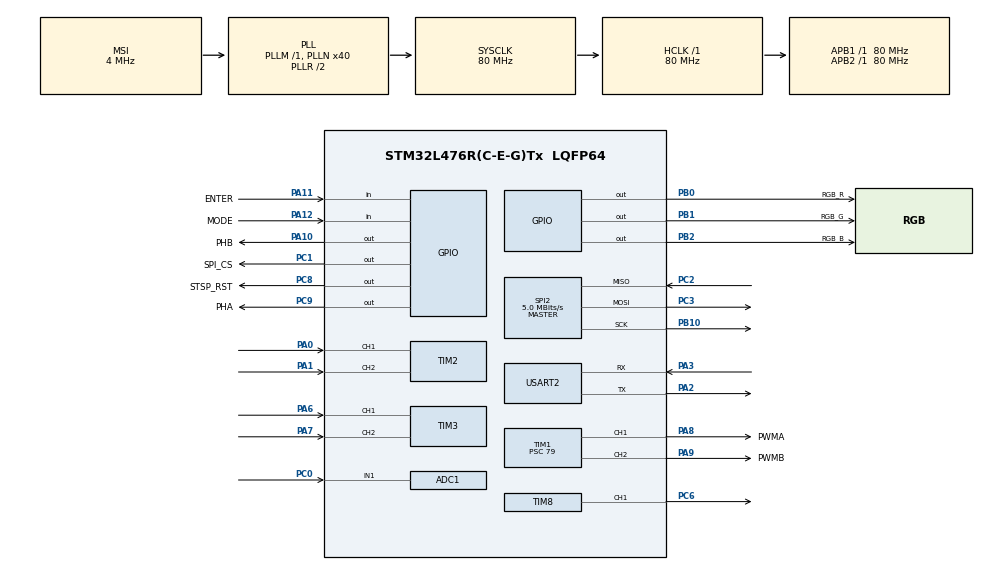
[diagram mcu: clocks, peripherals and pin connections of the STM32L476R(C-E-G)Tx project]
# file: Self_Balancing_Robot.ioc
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ADC1.Channel-0\#ChannelRegularConversion=ADC_CHANNEL_1
ADC1.ClockPrescaler=ADC_CLOCK_ASYNC_DIV2
ADC1.ContinuousConvMode=ENABLE
ADC1.DMAContinuousRequests=ENABLE
ADC1.NbrOfConversionFlag=1
ADC1.OffsetNumber-0\#ChannelRegularConversion=ADC_OFFSET_NONE
ADC1.Rank-0\#ChannelRegularConversion=1
ADC1.SamplingTime-0\#ChannelRegularConversion=ADC_SAMPLETIME_640CYCLES_5
ADC1.master=1
Dma.ADC1.2.Direction=DMA_PERIPH_TO_MEMORY
Dma.ADC1.2.Instance=DMA1_Channel1
Dma.ADC1.2.MemDataAlignment=DMA_MDATAALIGN_HALFWORD
Dma.ADC1.2.MemInc=DMA_MINC_ENABLE
Dma.ADC1.2.Mode=DMA_CIRCULAR
Dma.ADC1.2.PeriphDataAlignment=DMA_PDATAALIGN_HALFWORD
Dma.ADC1.2.PeriphInc=DMA_PINC_DISABLE
Dma.ADC1.2.Priority=DMA_PRIORITY_LOW
Dma.Request0=SPI2_RX
Dma.Request1=SPI2_TX
Dma.Request2=ADC1
Dma.Request3=USART2_RX
Dma.Request4=USART2_TX
Dma.SPI2_RX.0.Direction=DMA_PERIPH_TO_MEMORY
Dma.SPI2_RX.0.Instance=DMA1_Channel4
Dma.SPI2_RX.0.MemDataAlignment=DMA_MDATAALIGN_BYTE
Dma.SPI2_RX.0.MemInc=DMA_MINC_ENABLE
Dma.SPI2_RX.0.Mode=DMA_NORMAL
Dma.SPI2_RX.0.PeriphDataAlignment=DMA_PDATAALIGN_BYTE
Dma.SPI2_RX.0.PeriphInc=DMA_PINC_DISABLE
Dma.SPI2_RX.0.Priority=DMA_PRIORITY_LOW
Dma.SPI2_TX.1.Direction=DMA_MEMORY_TO_PERIPH
Dma.SPI2_TX.1.Instance=DMA1_Channel5
Dma.SPI2_TX.1.MemDataAlignment=DMA_MDATAALIGN_BYTE
Dma.SPI2_TX.1.MemInc=DMA_MINC_ENABLE
Dma.SPI2_TX.1.Mode=DMA_NORMAL
Dma.SPI2_TX.1.PeriphDataAlignment=DMA_PDATAALIGN_BYTE
Dma.SPI2_TX.1.PeriphInc=DMA_PINC_DISABLE
Dma.SPI2_TX.1.Priority=DMA_PRIORITY_LOW
Dma.USART2_RX.3.Direction=DMA_PERIPH_TO_MEMORY
Dma.USART2_RX.3.Instance=DMA1_Channel6
Dma.USART2_RX.3.MemDataAlignment=DMA_MDATAALIGN_BYTE
Dma.USART2_RX.3.MemInc=DMA_MINC_ENABLE
Dma.USART2_RX.3.Mode=DMA_NORMAL
Dma.USART2_RX.3.PeriphDataAlignment=DMA_PDATAALIGN_BYTE
Dma.USART2_RX.3.PeriphInc=DMA_PINC_DISABLE
Dma.USART2_RX.3.Priority=DMA_PRIORITY_LOW
Dma.USART2_TX.4.Direction=DMA_MEMORY_TO_PERIPH
Dma.USART2_TX.4.Instance=DMA1_Channel7
Dma.USART2_TX.4.MemDataAlignment=DMA_MDATAALIGN_BYTE
Dma.USART2_TX.4.MemInc=DMA_MINC_ENABLE
Dma.USART2_TX.4.Mode=DMA_NORMAL
Dma.USART2_TX.4.PeriphDataAlignment=DMA_PDATAALIGN_BYTE
Dma.USART2_TX.4.PeriphInc=DMA_PINC_DISABLE
Dma.USART2_TX.4.Priority=DMA_PRIORITY_LOW
Mcu.Family=STM32L4
Mcu.Name=STM32L476R(C-E-G)Tx
Mcu.Package=LQFP64
NVIC.DMA1_Channel1_IRQn=true\:1\:0\:true\:false\:true\:false\:true\:true
NVIC.DMA1_Channel4_IRQn=true\:0\:0\:false\:false\:true\:false\:true\:true
NVIC.DMA1_Channel5_IRQn=true\:0\:0\:false\:false\:true\:false\:true\:true
NVIC.DMA1_Channel6_IRQn=true\:0\:0\:false\:false\:true\:false\:true\:true
NVIC.DMA1_Channel7_IRQn=true\:0\:0\:false\:false\:true\:false\:true\:true
NVIC.PriorityGroup=NVIC_PRIORITYGROUP_4
NVIC.SPI2_IRQn=true\:0\:0\:false\:false\:true\:true\:true\:true
NVIC.TIM1_BRK_TIM15_IRQn=true\:0\:0\:false\:false\:true\:true\:true\:true
NVIC.TIM4_IRQn=true\:0\:0\:false\:false\:true\:true\:true\:true
NVIC.USART2_IRQn=true\:2\:0\:true\:false\:true\:true\:true\:true
PA0.Signal=S_TIM2_CH1
PA1.Signal=S_TIM2_CH2
PA10.GPIO_Label=PHB
PA10.Signal=GPIO_Output
PA11.GPIO_Label=ENTER
PA11.GPIO_PuPd=GPIO_PULLUP
PA11.Signal=GPIO_Input
PA12.GPIO_Label=MODE
PA12.GPIO_PuPd=GPIO_PULLUP
PA12.Signal=GPIO_Input
PA13\ (JTMS-SWDIO).Mode=Serial_Wire
PA13\ (JTMS-SWDIO).Signal=SYS_JTMS-SWDIO
PA14\ (JTCK-SWCLK).Mode=Serial_Wire
PA14\ (JTCK-SWCLK).Signal=SYS_JTCK-SWCLK
PA2.Mode=Asynchronous
PA2.Signal=USART2_TX
PA3.Mode=Asynchronous
PA3.Signal=USART2_RX
PA5.Signal=TIM8_CH1N
PA6.Signal=S_TIM3_CH1
PA7.Signal=S_TIM3_CH2
PA8.GPIO_Label=PWMA
PA8.Signal=S_TIM1_CH1
PA9.GPIO_Label=PWMB
PA9.Signal=S_TIM1_CH2
PB0.GPIO_Label=RGB_R
PB0.Signal=GPIO_Output
PB1.GPIO_Label=RGB_G
PB1.Signal=GPIO_Output
PB10.Mode=Full_Duplex_Master
PB10.Signal=SPI2_SCK
PB14.GPIO_Label=RC_CH2
PB14.Signal=S_TIM15_CH1
PB2.GPIO_Label=RGB_B
PB2.Signal=GPIO_Output
PC0.Signal=ADCx_IN1
PC1.GPIO_Label=SPI_CS
PC1.Signal=GPIO_Output
PC2.Mode=Full_Duplex_Master
PC2.Signal=SPI2_MISO
PC3.Mode=Full_Duplex_Master
PC3.Signal=SPI2_MOSI
PC6.Signal=S_TIM8_CH1
PC8.GPIO_Label=STSP_RST
PC8.Signal=GPIO_Output
PC9.GPIO_Label=PHA
PC9.Signal=GPIO_Output
ProjectManager.HeapSize=0x200
ProjectManager.StackSize=0x400
ProjectManager.TargetToolchain=MDK-ARM V5.32
RCC.ADCFreq_Value=32000000
RCC.AHBFreq_Value=80000000
RCC.APB1Freq_Value=80000000
RCC.APB1TimFreq_Value=80000000
RCC.APB2Freq_Value=80000000
RCC.APB2TimFreq_Value=80000000
RCC.CortexFreq_Value=80000000
RCC.HCLKFreq_Value=80000000
RCC.HSE_VALUE=8000000
RCC.HSI_VALUE=16000000
RCC.LSE_VALUE=32768
RCC.MSI_VALUE=4000000
RCC.PLLN=40
RCC.PLLSAI1N=16
RCC.SYSCLKFreq_VALUE=80000000
RCC.SYSCLKSource=RCC_SYSCLKSOURCE_PLLCLK
RCC.USBFreq_Value=32000000
RCC.VCOOutputFreq_Value=160000000
SH.ADCx_IN1.0=ADC1_IN1,IN1-Single-Ended
SH.S_TIM15_CH1.0=TIM15_CH1
SH.S_TIM1_CH1.0=TIM1_CH1,PWM Generation1 CH1
SH.S_TIM1_CH2.0=TIM1_CH2,PWM Generation2 CH2
SH.S_TIM2_CH1.0=TIM2_CH1,Encoder_Interface
SH.S_TIM2_CH2.0=TIM2_CH2,Encoder_Interface
SH.S_TIM3_CH1.0=TIM3_CH1,Encoder_Interface
SH.S_TIM3_CH2.0=TIM3_CH2,Encoder_Interface
SH.S_TIM8_CH1.0=TIM8_CH1,PWM Generation1 CH1
SPI2.BaudRatePrescaler=SPI_BAUDRATEPRESCALER_16
SPI2.CLKPhase=SPI_PHASE_2EDGE
SPI2.CLKPolarity=SPI_POLARITY_HIGH
SPI2.CalculateBaudRate=5.0 MBits/s
SPI2.DataSize=SPI_DATASIZE_8BIT
SPI2.Direction=SPI_DIRECTION_2LINES
SPI2.Mode=SPI_MODE_MASTER
SPI2.VirtualType=VM_MASTER
STMicroelectronics.X-CUBE-ALGOBUILD.1.4.0.LibraryCcDSPOoLibraryJjDSPOoLibrary=true
TIM1.Channel-PWM\ Generation1\ CH1=TIM_CHANNEL_1
TIM1.Channel-PWM\ Generation2\ CH2=TIM_CHANNEL_2
TIM1.Period=999
TIM1.Prescaler=79
TIM4.Period=1999
TIM4.Prescaler=79
TIM8.AutomaticOutput=TIM_AUTOMATICOUTPUT_ENABLE
TIM8.Channel-PWM\ Generation1\ CH1=TIM_CHANNEL_1
TIM8.Period=369
TIM8.Prescaler=79
TIM8.Pulse-PWM\ Generation1\ CH1=185
USART2.VirtualMode-Asynchronous=VM_ASYNC
VP_STMicroelectronics.X-CUBE-ALGOBUILD_VS_DSPOoLibraryJjLibrary_1.4.0_1.4.0.Mode=DSPOoLibraryJjLibrary
VP_TIM1_VS_ClockSourceINT.Mode=Internal
VP_TIM4_VS_ClockSourceINT.Mode=Internal
VP_TIM8_VS_ClockSourceINT.Mode=Internal
board=custom

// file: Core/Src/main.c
/* USER CODE BEGIN Header */
/**
  ******************************************************************************
  * @file           : main.c
  * @brief          : Main program body
  ******************************************************************************
  * @attention
  *
  * Copyright (c) 2025 STMicroelectronics.
  * All rights reserved.
  *
  * This software is licensed under terms that can be found in the LICENSE file
  * in the root directory of this software component.
  * If no LICENSE file comes with this software, it is provided AS-IS.
  *
  ******************************************************************************
  */
/* USER CODE END Header */
#include "main.h"

/* USER CODE BEGIN Includes */
#include "motor_control.h"
#include "stdio.h"
#include "motor_encoder.h"
#include "pid_control.h"
#include "icm_20948.h"
#include "arm_math.h"
#include "imu_data.h"
#include "euler_angles.h"
#include "lqr.h"
#include "buzzer.h"
#include "uart.h"
#include "telemetry.h"
#include "battery.h"
#include "rgb.h"
//#include "moving_average_filter.h"

/* USER CODE END Includes */

/* USER CODE BEGIN PM */
uint8_t status;

/* USER CODE END PM */

ADC_HandleTypeDef hadc1;
DMA_HandleTypeDef hdma_adc1;

SPI_HandleTypeDef hspi2;
DMA_HandleTypeDef hdma_spi2_rx;
DMA_HandleTypeDef hdma_spi2_tx;

TIM_HandleTypeDef htim1;
TIM_HandleTypeDef htim2;
TIM_HandleTypeDef htim3;
TIM_HandleTypeDef htim4;
TIM_HandleTypeDef htim8;

UART_HandleTypeDef huart2;
DMA_HandleTypeDef hdma_usart2_rx;
DMA_HandleTypeDef hdma_usart2_tx;

/* USER CODE BEGIN PV */
int dumb_data = 0;
volatile  uint16_t adc_battery;

float robot_battery;

const static motor_inst motor_a = {.htim_motor = &htim1,
																	 .htim_motor_ch = TIM_CHANNEL_1,
																	 .mdir_pin_number = PHA_Pin,
																	 .mdir_pin_port = PHA_GPIO_Port,
																	 .rst_pin_number = STSP_RST_Pin,
																	 .rst_pin_port = STSP_RST_GPIO_Port};
const static motor_inst motor_b = {.htim_motor = &htim1,
																	 .htim_motor_ch = TIM_CHANNEL_2,
																	 .mdir_pin_number = PHB_Pin,
																	 .mdir_pin_port = PHB_GPIO_Port,
																	 .rst_pin_number = STSP_RST_Pin,
																	 .rst_pin_port = STSP_RST_GPIO_Port};

static encoder_inst motora_enc = {.first_time = 0,
																	.htim_encoder = &htim3,
																	.last_counter_value = 0,
																	.position = 0,
																	.timer_period = 0.002,
																	.velocity = 0};

static encoder_inst motorb_enc = {.first_time = 0,
																	.htim_encoder = &htim2,
																	.last_counter_value = 0,
																	.position = 0,
																	.timer_period = 0.002,
																	.velocity = 0};
static pid_instance mota_pid = {.d_gain = 0,
                                .error_integral = 0,
																.i_gain = 1.0f,
																.integral_max = 5000,
																.last_error = 0,
																.output = 0,
																.p_gain = 10.0f,
																.pid_max = 100,
																.sam_rate = 100};

static pid_instance mot_rotation_pid = {.d_gain = 0.5,
                                .error_integral = 0,
																.i_gain = 0.0f,
																.integral_max = 5,
																.last_error = 0,
																.output = 0,
																.p_gain = 2.0f,
																.pid_max = 30,
																.sam_rate = 500};

uint32_t timer_counter;
uint8_t timer_flag,mag_timer_flag;
float temp_velocity, filter_out;
uint8_t timer_flag;
mov_aver_instance temp_filter;
int32_t duty_cycle_ch1, duty_cycle_ch2;

uint8_t address, data;

int16_t a_x, a_y, a_z, g_x, g_y, g_z;
icm_20948_data icm_data;

int32_t sum_gyro_x, sum_gyro_y, sum_gyro_z;
int16_t mag_x, mag_y, mag_z;

volatile uint8_t telem_div = 0;
volatile bool telemetry_pending = false;

// min / max magnetometer
float mag_x_min =  1e9f;
float mag_y_min =  1e9f;
float mag_z_min =  1e9f;

float mag_x_max = -1e9f;
float mag_y_max = -1e9f;
float mag_z_max = -1e9f;

// d? d?m th?i gian calibrate
uint32_t mag_sample_count = 0;

float mag_bias_x, mag_bias_y, mag_bias_z;
float mag_scale_x, mag_scale_y, mag_scale_z;

imu_norm imu_norm_data;
euler_angles euler_temp,euler_angles_robot, euler_angles_old;
StateTypeDef robot_state;
RGB        rgb;

int16_t counter_time;

float force;

//uint8_t rx1_buf[256];
//volatile uint16_t rx_len = 0;
//volatile uint8_t rx_ready = 0;

//static float32_t reference1, reference2;

/* USER CODE END PV */

void SystemClock_Config(void);
static void MX_GPIO_Init(void);
static void MX_DMA_Init(void);
static void MX_TIM1_Init(void);
static void MX_TIM2_Init(void);
static void MX_TIM3_Init(void);
static void MX_TIM4_Init(void);
static void MX_TIM8_Init(void);
static void MX_SPI2_Init(void);
static void MX_ADC1_Init(void);
static void MX_USART2_UART_Init(void);

int main(void)
{

  /* USER CODE BEGIN 1 */
//	uint8_t address, data;

  /* USER CODE END 1 */

  /* MCU Configuration--------------------------------------------------------*/

  /* Reset of all peripherals, Initializes the Flash interface and the Systick. */
  HAL_Init();

  /* USER CODE BEGIN Init */
	//icm_20948_data icm_data;

  /* USER CODE END Init */

  /* Configure the system clock */
  SystemClock_Config();

  /* Initialize all configured peripherals */
  MX_GPIO_Init();
  MX_DMA_Init();
  MX_TIM1_Init();
  MX_TIM2_Init();
  MX_TIM3_Init();
  MX_TIM4_Init();
  MX_TIM8_Init();
  MX_SPI2_Init();
  MX_ADC1_Init();
  MX_USART2_UART_Init();
  /* USER CODE BEGIN 2 */

	Buzzer_Init();
	UART_Init();
	Telemetry_Init();

	 rgb_init(&rgb, GPIOB, RGB_R_Pin, RGB_G_Pin, RGB_B_Pin);
  //UART_SendString("UART ready\r\n");

	HAL_Delay(100);

	// Start PWM in channels 2 and 3
	HAL_TIM_PWM_Start(&htim1, TIM_CHANNEL_1);
	HAL_TIM_PWM_Start(&htim1, TIM_CHANNEL_2);

	enable_motor((motor_inst*)&motor_a);
	enable_motor((motor_inst*)&motor_b);

	HAL_Delay(1000);
	reset_encoder(&motora_enc);
	reset_encoder(&motorb_enc);
	reset_pid(&mota_pid);
	icm_20948_init();
	icm_20948_read_data(&icm_data);
	sensor2imu(icm_data, &imu_norm_data);
	complementary_filter_euler(imu_norm_data,  &euler_angles_robot);
	euler_angles_old = euler_angles_robot;

  /* USER CODE END 2 */

  /* Infinite loop */
  while (1)
  {

    /* USER CODE BEGIN 3 */
		robot_battery = Battery_GetVbat();
		uint8_t b;
    while (UART_ReadByte(&b))
    {
        Telemetry_RxByte(b);
    }
		if (telemetry_pending)
    {
        telemetry_pending = false;
        Telemetry_SendEuler(&euler_angles_robot);
    }

		rgb_setcolor(&rgb, RGB_PURPLE);
		if(timer_flag == 1) // 2ms
		{

			timer_flag = 0;
			get_encoder_speed(&motora_enc);
			get_encoder_speed(&motorb_enc);

			//temp_velocity = motora_enc.velocity;
		//	apply_average_filter(&temp_filter, motora_enc.velocity, &filter_out);
			//apply_pid(&mota_pid, 5 - temp_velocity); // setpoint = 5
			//set_speed_open((motor_inst*)&motor_a, mota_pid.output);

		//	set_speed_open((motor_inst*)&motor_a, 0);

		//	set_speed_open((motor_inst*)&motor_a, (duty_cycle_ch1 / 100));
		//	set_speed_open((motor_inst*)&motor_b, (duty_cycle_ch2 / 100));
		//	dumb_data++;

				icm_20948_read_data(&icm_data);
				sensor2imu(icm_data, &imu_norm_data);
				complementary_filter_euler(imu_norm_data, &euler_angles_robot);
			   if (++telem_div >= 10)   // 50Hz,    // 5 * 2ms = 10ms = 100Hz
				{
						telem_div = 0;
						telemetry_pending = true;
				}
			 // apply_pid(&mot_rotation_pid, motora_enc.position - motorb_enc.position);
			 robot_state.angle = euler_angles_robot.pitch;
			 robot_state.angle_vel = robot_state.angle_vel * 0.8f + 0.2f * (euler_angles_robot.pitch - euler_angles_old.pitch) * SAMPLE_RATE;

			 robot_state.position = (motora_enc.position + motorb_enc.position) / 2 ;
			 robot_state.velocity = (motora_enc.velocity + motorb_enc.velocity) / 2 ;
//
//			 apply_force((motor_inst*)&motor_a, force / 2, motora_enc.velocity);
//			 apply_lqr(robot_state, &force);
//

//			if (euler_angles_robot.pitch < 1.0 && euler_angles_robot.pitch > -1.0)
//			{
//			  apply_force((motor_inst*)&motor_a, force / 2, motora_enc.velocity);
//			  apply_force((motor_inst*)&motor_b, force / 2, motorb_enc.velocity);
//			}
//			else
//			{
//			 set_speed_zero((motor_inst*)&motor_a);
//			 set_speed_zero((motor_inst*)&motor_b);
//			}

//			if (euler_angles_robot.pitch < 1.0 && euler_angles_robot.pitch > -1.0)
//			{
//			  apply_force((motor_inst*)&motor_a, force / 2 - mot_rotation_pid.output / 2, motora_enc.velocity);
//			  apply_force((motor_inst*)&motor_b, force / 2 + mot_rotation_pid.output / 2, motorb_enc.velocity);
//			}
//			else
//			{
//			 set_speed_zero((motor_inst*)&motor_a);
//			 set_speed_zero((motor_inst*)&motor_b);
//			}

			euler_angles_old = euler_angles_robot;

  }
  }
  /* USER CODE END 3 */
}

void SystemClock_Config(void)
{
  RCC_OscInitTypeDef RCC_OscInitStruct = {0};
  RCC_ClkInitTypeDef RCC_ClkInitStruct = {0};

  /** Configure the main internal regulator output voltage
  */
  if (HAL_PWREx_ControlVoltageScaling(PWR_REGULATOR_VOLTAGE_SCALE1) != HAL_OK)
  {
    Error_Handler();
  }

  /** Initializes the RCC Oscillators according to the specified parameters
  * in the RCC_OscInitTypeDef structure.
  */
  RCC_OscInitStruct.OscillatorType = RCC_OSCILLATORTYPE_MSI;
  RCC_OscInitStruct.MSIState = RCC_MSI_ON;
  RCC_OscInitStruct.MSICalibrationValue = 0;
  RCC_OscInitStruct.MSIClockRange = RCC_MSIRANGE_6;
  RCC_OscInitStruct.PLL.PLLState = RCC_PLL_ON;
  RCC_OscInitStruct.PLL.PLLSource = RCC_PLLSOURCE_MSI;
  RCC_OscInitStruct.PLL.PLLM = 1;
  RCC_OscInitStruct.PLL.PLLN = 40;
  RCC_OscInitStruct.PLL.PLLP = RCC_PLLP_DIV7;
  RCC_OscInitStruct.PLL.PLLQ = RCC_PLLQ_DIV2;
  RCC_OscInitStruct.PLL.PLLR = RCC_PLLR_DIV2;
  if (HAL_RCC_OscConfig(&RCC_OscInitStruct) != HAL_OK)
  {
    Error_Handler();
  }

  /** Initializes the CPU, AHB and APB buses clocks
  */
  RCC_ClkInitStruct.ClockType = RCC_CLOCKTYPE_HCLK|RCC_CLOCKTYPE_SYSCLK
                              |RCC_CLOCKTYPE_PCLK1|RCC_CLOCKTYPE_PCLK2;
  RCC_ClkInitStruct.SYSCLKSource = RCC_SYSCLKSOURCE_PLLCLK;
  RCC_ClkInitStruct.AHBCLKDivider = RCC_SYSCLK_DIV1;
  RCC_ClkInitStruct.APB1CLKDivider = RCC_HCLK_DIV1;
  RCC_ClkInitStruct.APB2CLKDivider = RCC_HCLK_DIV1;

  if (HAL_RCC_ClockConfig(&RCC_ClkInitStruct, FLASH_LATENCY_4) != HAL_OK)
  {
    Error_Handler();
  }
}

static void MX_ADC1_Init(void)
{

  ADC_MultiModeTypeDef multimode = {0};
  ADC_ChannelConfTypeDef sConfig = {0};

  /** Common config
  */
  hadc1.Instance = ADC1;
  hadc1.Init.ClockPrescaler = ADC_CLOCK_ASYNC_DIV2;
  hadc1.Init.Resolution = ADC_RESOLUTION_12B;
  hadc1.Init.DataAlign = ADC_DATAALIGN_RIGHT;
  hadc1.Init.ScanConvMode = ADC_SCAN_DISABLE;
  hadc1.Init.EOCSelection = ADC_EOC_SINGLE_CONV;
  hadc1.Init.LowPowerAutoWait = DISABLE;
  hadc1.Init.ContinuousConvMode = ENABLE;
  hadc1.Init.NbrOfConversion = 1;
  hadc1.Init.DiscontinuousConvMode = DISABLE;
  hadc1.Init.ExternalTrigConv = ADC_SOFTWARE_START;
  hadc1.Init.ExternalTrigConvEdge = ADC_EXTERNALTRIGCONVEDGE_NONE;
  hadc1.Init.DMAContinuousRequests = ENABLE;
  hadc1.Init.Overrun = ADC_OVR_DATA_PRESERVED;
  hadc1.Init.OversamplingMode = DISABLE;
  if (HAL_ADC_Init(&hadc1) != HAL_OK)
  {
    Error_Handler();
  }

  /** Configure the ADC multi-mode
  */
  multimode.Mode = ADC_MODE_INDEPENDENT;
  if (HAL_ADCEx_MultiModeConfigChannel(&hadc1, &multimode) != HAL_OK)
  {
    Error_Handler();
  }

  /** Configure Regular Channel
  */
  sConfig.Channel = ADC_CHANNEL_1;
  sConfig.Rank = ADC_REGULAR_RANK_1;
  sConfig.SamplingTime = ADC_SAMPLETIME_640CYCLES_5;
  sConfig.SingleDiff = ADC_SINGLE_ENDED;
  sConfig.OffsetNumber = ADC_OFFSET_NONE;
  sConfig.Offset = 0;
  if (HAL_ADC_ConfigChannel(&hadc1, &sConfig) != HAL_OK)
  {
    Error_Handler();
  }
  /* USER CODE BEGIN ADC1_Init 2 */
	HAL_ADC_Start_DMA(&hadc1, (uint32_t*)&adc_battery, 1);
  /* USER CODE END ADC1_Init 2 */

}

static void MX_SPI2_Init(void)
{

  /* SPI2 parameter configuration*/
  hspi2.Instance = SPI2;
  hspi2.Init.Mode = SPI_MODE_MASTER;
  hspi2.Init.Direction = SPI_DIRECTION_2LINES;
  hspi2.Init.DataSize = SPI_DATASIZE_8BIT;
  hspi2.Init.CLKPolarity = SPI_POLARITY_HIGH;
  hspi2.Init.CLKPhase = SPI_PHASE_2EDGE;
  hspi2.Init.NSS = SPI_NSS_SOFT;
  hspi2.Init.BaudRatePrescaler = SPI_BAUDRATEPRESCALER_16;
  hspi2.Init.FirstBit = SPI_FIRSTBIT_MSB;
  hspi2.Init.TIMode = SPI_TIMODE_DISABLE;
  hspi2.Init.CRCCalculation = SPI_CRCCALCULATION_DISABLE;
  hspi2.Init.CRCPolynomial = 7;
  hspi2.Init.CRCLength = SPI_CRC_LENGTH_DATASIZE;
  hspi2.Init.NSSPMode = SPI_NSS_PULSE_DISABLE;
  if (HAL_SPI_Init(&hspi2) != HAL_OK)
  {
    Error_Handler();
  }

}

static void MX_TIM1_Init(void)
{

  TIM_ClockConfigTypeDef sClockSourceConfig = {0};
  TIM_MasterConfigTypeDef sMasterConfig = {0};
  TIM_OC_InitTypeDef sConfigOC = {0};
  TIM_BreakDeadTimeConfigTypeDef sBreakDeadTimeConfig = {0};

  /* USER CODE BEGIN TIM1_Init 1 */

	/*
	80MHZ / (79 +1) = 1MHZ Timer
	1MHZ / (999 + 1) = 1 KHZ
	500 / (999 + 1) = 0.5

	PWM implementation, STM32
	Duty cycle (%) = 100 * (CCRx / Auto-reload + 1)
	Frequency = Timers frequency / (Auto reload + 1)
	*/

  /* USER CODE END TIM1_Init 1 */
  htim1.Instance = TIM1;
  htim1.Init.Prescaler = 79;
  htim1.Init.CounterMode = TIM_COUNTERMODE_UP;
  htim1.Init.Period = 999;
  htim1.Init.ClockDivision = TIM_CLOCKDIVISION_DIV1;
  htim1.Init.RepetitionCounter = 0;
  htim1.Init.AutoReloadPreload = TIM_AUTORELOAD_PRELOAD_DISABLE;
  if (HAL_TIM_Base_Init(&htim1) != HAL_OK)
  {
    Error_Handler();
  }
  sClockSourceConfig.ClockSource = TIM_CLOCKSOURCE_INTERNAL;
  if (HAL_TIM_ConfigClockSource(&htim1, &sClockSourceConfig) != HAL_OK)
  {
    Error_Handler();
  }
  if (HAL_TIM_PWM_Init(&htim1) != HAL_OK)
  {
    Error_Handler();
  }
  sMasterConfig.MasterOutputTrigger = TIM_TRGO_RESET;
  sMasterConfig.MasterOutputTrigger2 = TIM_TRGO2_RESET;
  sMasterConfig.MasterSlaveMode = TIM_MASTERSLAVEMODE_DISABLE;
  if (HAL_TIMEx_MasterConfigSynchronization(&htim1, &sMasterConfig) != HAL_OK)
  {
    Error_Handler();
  }
  sConfigOC.OCMode = TIM_OCMODE_PWM1;
  sConfigOC.Pulse = 0;
  sConfigOC.OCPolarity = TIM_OCPOLARITY_HIGH;
  sConfigOC.OCNPolarity = TIM_OCNPOLARITY_HIGH;
  sConfigOC.OCFastMode = TIM_OCFAST_DISABLE;
  sConfigOC.OCIdleState = TIM_OCIDLESTATE_RESET;
  sConfigOC.OCNIdleState = TIM_OCNIDLESTATE_RESET;
  if (HAL_TIM_PWM_ConfigChannel(&htim1, &sConfigOC, TIM_CHANNEL_1) != HAL_OK)
  {
    Error_Handler();
  }
  if (HAL_TIM_PWM_ConfigChannel(&htim1, &sConfigOC, TIM_CHANNEL_2) != HAL_OK)
  {
    Error_Handler();
  }
  sBreakDeadTimeConfig.OffStateRunMode = TIM_OSSR_DISABLE;
  sBreakDeadTimeConfig.OffStateIDLEMode = TIM_OSSI_DISABLE;
  sBreakDeadTimeConfig.LockLevel = TIM_LOCKLEVEL_OFF;
  sBreakDeadTimeConfig.DeadTime = 0;
  sBreakDeadTimeConfig.BreakState = TIM_BREAK_DISABLE;
  sBreakDeadTimeConfig.BreakPolarity = TIM_BREAKPOLARITY_HIGH;
  sBreakDeadTimeConfig.BreakFilter = 0;
  sBreakDeadTimeConfig.Break2State = TIM_BREAK2_DISABLE;
  sBreakDeadTimeConfig.Break2Polarity = TIM_BREAK2POLARITY_HIGH;
  sBreakDeadTimeConfig.Break2Filter = 0;
  sBreakDeadTimeConfig.AutomaticOutput = TIM_AUTOMATICOUTPUT_DISABLE;
  if (HAL_TIMEx_ConfigBreakDeadTime(&htim1, &sBreakDeadTimeConfig) != HAL_OK)
  {
    Error_Handler();
  }
  HAL_TIM_MspPostInit(&htim1);

}

static void MX_TIM2_Init(void)
{

  TIM_Encoder_InitTypeDef sConfig = {0};
  TIM_MasterConfigTypeDef sMasterConfig = {0};

  htim2.Instance = TIM2;
  htim2.Init.Prescaler = 0;
  htim2.Init.CounterMode = TIM_COUNTERMODE_UP;
  htim2.Init.Period = 4294967295;
  htim2.Init.ClockDivision = TIM_CLOCKDIVISION_DIV1;
  htim2.Init.AutoReloadPreload = TIM_AUTORELOAD_PRELOAD_DISABLE;
  sConfig.EncoderMode = TIM_ENCODERMODE_TI1;
  sConfig.IC1Polarity = TIM_ICPOLARITY_RISING;
  sConfig.IC1Selection = TIM_ICSELECTION_DIRECTTI;
  sConfig.IC1Prescaler = TIM_ICPSC_DIV1;
  sConfig.IC1Filter = 0;
  sConfig.IC2Polarity = TIM_ICPOLARITY_RISING;
  sConfig.IC2Selection = TIM_ICSELECTION_DIRECTTI;
  sConfig.IC2Prescaler = TIM_ICPSC_DIV1;
  sConfig.IC2Filter = 0;
  if (HAL_TIM_Encoder_Init(&htim2, &sConfig) != HAL_OK)
  {
    Error_Handler();
  }
  sMasterConfig.MasterOutputTrigger = TIM_TRGO_RESET;
  sMasterConfig.MasterSlaveMode = TIM_MASTERSLAVEMODE_DISABLE;
  if (HAL_TIMEx_MasterConfigSynchronization(&htim2, &sMasterConfig) != HAL_OK)
  {
    Error_Handler();
  }
  /* USER CODE BEGIN TIM2_Init 2 */
	HAL_TIM_Encoder_Start(&htim2, TIM_CHANNEL_ALL);

  /* USER CODE END TIM2_Init 2 */

}

static void MX_TIM3_Init(void)
{

  TIM_Encoder_InitTypeDef sConfig = {0};
  TIM_MasterConfigTypeDef sMasterConfig = {0};

  htim3.Instance = TIM3;
  htim3.Init.Prescaler = 0;
  htim3.Init.CounterMode = TIM_COUNTERMODE_UP;
  htim3.Init.Period = 65535;
  htim3.Init.ClockDivision = TIM_CLOCKDIVISION_DIV1;
  htim3.Init.AutoReloadPreload = TIM_AUTORELOAD_PRELOAD_DISABLE;
  sConfig.EncoderMode = TIM_ENCODERMODE_TI1;
  sConfig.IC1Polarity = TIM_ICPOLARITY_RISING;
  sConfig.IC1Selection = TIM_ICSELECTION_DIRECTTI;
  sConfig.IC1Prescaler = TIM_ICPSC_DIV1;
  sConfig.IC1Filter = 0;
  sConfig.IC2Polarity = TIM_ICPOLARITY_RISING;
  sConfig.IC2Selection = TIM_ICSELECTION_DIRECTTI;
  sConfig.IC2Prescaler = TIM_ICPSC_DIV1;
  sConfig.IC2Filter = 0;
  if (HAL_TIM_Encoder_Init(&htim3, &sConfig) != HAL_OK)
  {
    Error_Handler();
  }
  sMasterConfig.MasterOutputTrigger = TIM_TRGO_RESET;
  sMasterConfig.MasterSlaveMode = TIM_MASTERSLAVEMODE_DISABLE;
  if (HAL_TIMEx_MasterConfigSynchronization(&htim3, &sMasterConfig) != HAL_OK)
  {
    Error_Handler();
  }
  /* USER CODE BEGIN TIM3_Init 2 */
	HAL_TIM_Encoder_Start(&htim3, TIM_CHANNEL_ALL);

  /* USER CODE END TIM3_Init 2 */

}

static void MX_TIM4_Init(void)
{

  /* USER CODE BEGIN TIM4_Init 0 */
/*	Interrupt 2ms
	Timer clock: 80MHz
	Prescaler = 79 -> Tan so sau prescaler: f_tick = 80 000 000 / 79 + 1 = 1 000 000 Hz
	1 tick = 1 us
	Period(ARR) = 1999 => so tick moi chu ky = 1999 + 1 = 2000 tick
	T = 2000 x 1us =  2000us = 2 ms
*/

  /* USER CODE END TIM4_Init 0 */

  TIM_ClockConfigTypeDef sClockSourceConfig = {0};
  TIM_MasterConfigTypeDef sMasterConfig = {0};

  htim4.Instance = TIM4;
  htim4.Init.Prescaler = 79;
  htim4.Init.CounterMode = TIM_COUNTERMODE_UP;
  htim4.Init.Period = 1999;
  htim4.Init.ClockDivision = TIM_CLOCKDIVISION_DIV1;
  htim4.Init.AutoReloadPreload = TIM_AUTORELOAD_PRELOAD_DISABLE;
  if (HAL_TIM_Base_Init(&htim4) != HAL_OK)
  {
    Error_Handler();
  }
  sClockSourceConfig.ClockSource = TIM_CLOCKSOURCE_INTERNAL;
  if (HAL_TIM_ConfigClockSource(&htim4, &sClockSourceConfig) != HAL_OK)
  {
    Error_Handler();
  }
  sMasterConfig.MasterOutputTrigger = TIM_TRGO_RESET;
  sMasterConfig.MasterSlaveMode = TIM_MASTERSLAVEMODE_DISABLE;
  if (HAL_TIMEx_MasterConfigSynchronization(&htim4, &sMasterConfig) != HAL_OK)
  {
    Error_Handler();
  }
  /* USER CODE BEGIN TIM4_Init 2 */
//	  htim4.Instance->PSC = SystemCoreClock / (1e6) - 1;
//  htim4.Instance->ARR = 1e6 / (SAMPLE_RATE) - 1;
	HAL_TIM_Base_Start_IT(&htim4);
  /* USER CODE END TIM4_Init 2 */

}

static void MX_TIM8_Init(void)
{

  TIM_ClockConfigTypeDef sClockSourceConfig = {0};
  TIM_MasterConfigTypeDef sMasterConfig = {0};
  TIM_OC_InitTypeDef sConfigOC = {0};
  TIM_BreakDeadTimeConfigTypeDef sBreakDeadTimeConfig = {0};

  htim8.Instance = TIM8;
  htim8.Init.Prescaler = 79;
  htim8.Init.CounterMode = TIM_COUNTERMODE_UP;
  htim8.Init.Period = 369;
  htim8.Init.ClockDivision = TIM_CLOCKDIVISION_DIV1;
  htim8.Init.RepetitionCounter = 0;
  htim8.Init.AutoReloadPreload = TIM_AUTORELOAD_PRELOAD_DISABLE;
  if (HAL_TIM_Base_Init(&htim8) != HAL_OK)
  {
    Error_Handler();
  }
  sClockSourceConfig.ClockSource = TIM_CLOCKSOURCE_INTERNAL;
  if (HAL_TIM_ConfigClockSource(&htim8, &sClockSourceConfig) != HAL_OK)
  {
    Error_Handler();
  }
  if (HAL_TIM_PWM_Init(&htim8) != HAL_OK)
  {
    Error_Handler();
  }
  sMasterConfig.MasterOutputTrigger = TIM_TRGO_RESET;
  sMasterConfig.MasterOutputTrigger2 = TIM_TRGO2_RESET;
  sMasterConfig.MasterSlaveMode = TIM_MASTERSLAVEMODE_DISABLE;
  if (HAL_TIMEx_MasterConfigSynchronization(&htim8, &sMasterConfig) != HAL_OK)
  {
    Error_Handler();
  }
  sConfigOC.OCMode = TIM_OCMODE_PWM1;
  sConfigOC.Pulse = 185;
  sConfigOC.OCPolarity = TIM_OCPOLARITY_HIGH;
  sConfigOC.OCNPolarity = TIM_OCNPOLARITY_HIGH;
  sConfigOC.OCFastMode = TIM_OCFAST_DISABLE;
  sConfigOC.OCIdleState = TIM_OCIDLESTATE_RESET;
  sConfigOC.OCNIdleState = TIM_OCNIDLESTATE_RESET;
  if (HAL_TIM_PWM_ConfigChannel(&htim8, &sConfigOC, TIM_CHANNEL_1) != HAL_OK)
  {
    Error_Handler();
  }
  sBreakDeadTimeConfig.OffStateRunMode = TIM_OSSR_DISABLE;
  sBreakDeadTimeConfig.OffStateIDLEMode = TIM_OSSI_DISABLE;
  sBreakDeadTimeConfig.LockLevel = TIM_LOCKLEVEL_OFF;
  sBreakDeadTimeConfig.DeadTime = 0;
  sBreakDeadTimeConfig.BreakState = TIM_BREAK_DISABLE;
  sBreakDeadTimeConfig.BreakPolarity = TIM_BREAKPOLARITY_HIGH;
  sBreakDeadTimeConfig.BreakFilter = 0;
  sBreakDeadTimeConfig.Break2State = TIM_BREAK2_DISABLE;
  sBreakDeadTimeConfig.Break2Polarity = TIM_BREAK2POLARITY_HIGH;
  sBreakDeadTimeConfig.Break2Filter = 0;
  sBreakDeadTimeConfig.AutomaticOutput = TIM_AUTOMATICOUTPUT_ENABLE;
  if (HAL_TIMEx_ConfigBreakDeadTime(&htim8, &sBreakDeadTimeConfig) != HAL_OK)
  {
    Error_Handler();
  }
  HAL_TIM_MspPostInit(&htim8);

}

static void MX_USART2_UART_Init(void)
{

  huart2.Instance = USART2;
  huart2.Init.BaudRate = 115200;
  huart2.Init.WordLength = UART_WORDLENGTH_8B;
  huart2.Init.StopBits = UART_STOPBITS_1;
  huart2.Init.Parity = UART_PARITY_NONE;
  huart2.Init.Mode = UART_MODE_TX_RX;
  huart2.Init.HwFlowCtl = UART_HWCONTROL_NONE;
  huart2.Init.OverSampling = UART_OVERSAMPLING_16;
  huart2.Init.OneBitSampling = UART_ONE_BIT_SAMPLE_DISABLE;
  huart2.AdvancedInit.AdvFeatureInit = UART_ADVFEATURE_NO_INIT;
  if (HAL_UART_Init(&huart2) != HAL_OK)
  {
    Error_Handler();
  }

}

static void MX_DMA_Init(void)
{

  /* DMA controller clock enable */
  __HAL_RCC_DMA1_CLK_ENABLE();

  /* DMA interrupt init */
  /* DMA1_Channel1_IRQn interrupt configuration */
  HAL_NVIC_SetPriority(DMA1_Channel1_IRQn, 1, 0);
  HAL_NVIC_EnableIRQ(DMA1_Channel1_IRQn);
  /* DMA1_Channel4_IRQn interrupt configuration */
  HAL_NVIC_SetPriority(DMA1_Channel4_IRQn, 0, 0);
  HAL_NVIC_EnableIRQ(DMA1_Channel4_IRQn);
  /* DMA1_Channel5_IRQn interrupt configuration */
  HAL_NVIC_SetPriority(DMA1_Channel5_IRQn, 0, 0);
  HAL_NVIC_EnableIRQ(DMA1_Channel5_IRQn);
  /* DMA1_Channel6_IRQn interrupt configuration */
  HAL_NVIC_SetPriority(DMA1_Channel6_IRQn, 0, 0);
  HAL_NVIC_EnableIRQ(DMA1_Channel6_IRQn);
  /* DMA1_Channel7_IRQn interrupt configuration */
  HAL_NVIC_SetPriority(DMA1_Channel7_IRQn, 0, 0);
  HAL_NVIC_EnableIRQ(DMA1_Channel7_IRQn);

}

static void MX_GPIO_Init(void)
{
  GPIO_InitTypeDef GPIO_InitStruct = {0};

  /* GPIO Ports Clock Enable */
  __HAL_RCC_GPIOC_CLK_ENABLE();
  __HAL_RCC_GPIOA_CLK_ENABLE();
  __HAL_RCC_GPIOB_CLK_ENABLE();

  /*Configure GPIO pin Output Level */
  HAL_GPIO_WritePin(GPIOC, SPI_CS_Pin|STSP_RST_Pin|PHA_Pin, GPIO_PIN_RESET);

  /*Configure GPIO pin Output Level */
  HAL_GPIO_WritePin(GPIOB, RGB_R_Pin|RGB_G_Pin|RGB_B_Pin, GPIO_PIN_RESET);

  /*Configure GPIO pin Output Level */
  HAL_GPIO_WritePin(PHB_GPIO_Port, PHB_Pin, GPIO_PIN_RESET);

  /*Configure GPIO pins : SPI_CS_Pin STSP_RST_Pin PHA_Pin */
  GPIO_InitStruct.Pin = SPI_CS_Pin|STSP_RST_Pin|PHA_Pin;
  GPIO_InitStruct.Mode = GPIO_MODE_OUTPUT_PP;
  GPIO_InitStruct.Pull = GPIO_NOPULL;
  GPIO_InitStruct.Speed = GPIO_SPEED_FREQ_LOW;
  HAL_GPIO_Init(GPIOC, &GPIO_InitStruct);

  /*Configure GPIO pins : RGB_R_Pin RGB_G_Pin RGB_B_Pin */
  GPIO_InitStruct.Pin = RGB_R_Pin|RGB_G_Pin|RGB_B_Pin;
  GPIO_InitStruct.Mode = GPIO_MODE_OUTPUT_PP;
  GPIO_InitStruct.Pull = GPIO_NOPULL;
  GPIO_InitStruct.Speed = GPIO_SPEED_FREQ_LOW;
  HAL_GPIO_Init(GPIOB, &GPIO_InitStruct);

  /*Configure GPIO pin : RC_CH2_Pin */
  GPIO_InitStruct.Pin = RC_CH2_Pin;
  GPIO_InitStruct.Mode = GPIO_MODE_AF_PP;
  GPIO_InitStruct.Pull = GPIO_NOPULL;
  GPIO_InitStruct.Speed = GPIO_SPEED_FREQ_LOW;
  GPIO_InitStruct.Alternate = GPIO_AF14_TIM15;
  HAL_GPIO_Init(RC_CH2_GPIO_Port, &GPIO_InitStruct);

  /*Configure GPIO pin : PHB_Pin */
  GPIO_InitStruct.Pin = PHB_Pin;
  GPIO_InitStruct.Mode = GPIO_MODE_OUTPUT_PP;
  GPIO_InitStruct.Pull = GPIO_NOPULL;
  GPIO_InitStruct.Speed = GPIO_SPEED_FREQ_LOW;
  HAL_GPIO_Init(PHB_GPIO_Port, &GPIO_InitStruct);

  /*Configure GPIO pins : ENTER_Pin MODE_Pin */
  GPIO_InitStruct.Pin = ENTER_Pin|MODE_Pin;
  GPIO_InitStruct.Mode = GPIO_MODE_INPUT;
  GPIO_InitStruct.Pull = GPIO_PULLUP;
  HAL_GPIO_Init(GPIOA, &GPIO_InitStruct);

}

/* USER CODE BEGIN 4 */

//void HAL_TIM_PeriodElapsedCallback(TIM_HandleTypeDef *htim) // 10ms
//{
//	if(htim == &htim4)
//	{
//		timer_flag = 1;
//	}
//		if(htim == &htim5)
//	{
//		mag_timer_flag = 1;
//	}
//}

void HAL_TIM_PeriodElapsedCallback(TIM_HandleTypeDef *htim)
{
    if (htim->Instance == TIM4)
    {
        timer_flag = 1;
    }
    else if (htim->Instance == TIM5)
    {
        mag_timer_flag = 1;
    }
}

/* USER CODE END 4 */

void Error_Handler(void)
{
  __disable_irq();
  while (1)
  {
  }
}
